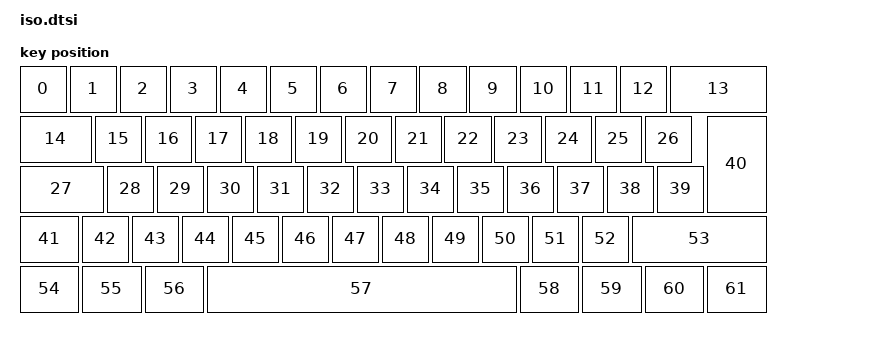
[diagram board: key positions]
#include <layouts/common/60percent/position_map.dtsi>
#include <physical_layouts.dtsi>

/ {
    layout_60_iso: layout_60_iso {
        compatible = "zmk,physical-layout";
        display-name = "60% ISO";

        keys  //                     w   h    x    y     rot    rx    ry
            = <&key_physical_attrs 100 100    0    0       0     0     0>
            , <&key_physical_attrs 100 100  100    0       0     0     0>
            , <&key_physical_attrs 100 100  200    0       0     0     0>
            , <&key_physical_attrs 100 100  300    0       0     0     0>
            , <&key_physical_attrs 100 100  400    0       0     0     0>
            , <&key_physical_attrs 100 100  500    0       0     0     0>
            , <&key_physical_attrs 100 100  600    0       0     0     0>
            , <&key_physical_attrs 100 100  700    0       0     0     0>
            , <&key_physical_attrs 100 100  800    0       0     0     0>
            , <&key_physical_attrs 100 100  900    0       0     0     0>
            , <&key_physical_attrs 100 100 1000    0       0     0     0>
            , <&key_physical_attrs 100 100 1100    0       0     0     0>
            , <&key_physical_attrs 100 100 1200    0       0     0     0>
            , <&key_physical_attrs 200 100 1300    0       0     0     0>
            , <&key_physical_attrs 150 100    0  100       0     0     0>
            , <&key_physical_attrs 100 100  150  100       0     0     0>
            , <&key_physical_attrs 100 100  250  100       0     0     0>
            , <&key_physical_attrs 100 100  350  100       0     0     0>
            , <&key_physical_attrs 100 100  450  100       0     0     0>
            , <&key_physical_attrs 100 100  550  100       0     0     0>
            , <&key_physical_attrs 100 100  650  100       0     0     0>
            , <&key_physical_attrs 100 100  750  100       0     0     0>
            , <&key_physical_attrs 100 100  850  100       0     0     0>
            , <&key_physical_attrs 100 100  950  100       0     0     0>
            , <&key_physical_attrs 100 100 1050  100       0     0     0>
            , <&key_physical_attrs 100 100 1150  100       0     0     0>
            , <&key_physical_attrs 100 100 1250  100       0     0     0>
            , <&key_physical_attrs 175 100    0  200       0     0     0>
            , <&key_physical_attrs 100 100  175  200       0     0     0>
            , <&key_physical_attrs 100 100  275  200       0     0     0>
            , <&key_physical_attrs 100 100  375  200       0     0     0>
            , <&key_physical_attrs 100 100  475  200       0     0     0>
            , <&key_physical_attrs 100 100  575  200       0     0     0>
            , <&key_physical_attrs 100 100  675  200       0     0     0>
            , <&key_physical_attrs 100 100  775  200       0     0     0>
            , <&key_physical_attrs 100 100  875  200       0     0     0>
            , <&key_physical_attrs 100 100  975  200       0     0     0>
            , <&key_physical_attrs 100 100 1075  200       0     0     0>
            , <&key_physical_attrs 100 100 1175  200       0     0     0>
            , <&key_physical_attrs 100 100 1275  200       0     0     0>
            , <&key_physical_attrs 125 200 1375  100       0     0     0>
            , <&key_physical_attrs 125 100    0  300       0     0     0>
            , <&key_physical_attrs 100 100  125  300       0     0     0>
            , <&key_physical_attrs 100 100  225  300       0     0     0>
            , <&key_physical_attrs 100 100  325  300       0     0     0>
            , <&key_physical_attrs 100 100  425  300       0     0     0>
            , <&key_physical_attrs 100 100  525  300       0     0     0>
            , <&key_physical_attrs 100 100  625  300       0     0     0>
            , <&key_physical_attrs 100 100  725  300       0     0     0>
            , <&key_physical_attrs 100 100  825  300       0     0     0>
            , <&key_physical_attrs 100 100  925  300       0     0     0>
            , <&key_physical_attrs 100 100 1025  300       0     0     0>
            , <&key_physical_attrs 100 100 1125  300       0     0     0>
            , <&key_physical_attrs 275 100 1225  300       0     0     0>
            , <&key_physical_attrs 125 100    0  400       0     0     0>
            , <&key_physical_attrs 125 100  125  400       0     0     0>
            , <&key_physical_attrs 125 100  250  400       0     0     0>
            , <&key_physical_attrs 625 100  375  400       0     0     0>
            , <&key_physical_attrs 125 100 1000  400       0     0     0>
            , <&key_physical_attrs 125 100 1125  400       0     0     0>
            , <&key_physical_attrs 125 100 1250  400       0     0     0>
            , <&key_physical_attrs 125 100 1375  400       0     0     0>
            ;
    };
};

&layouts_common_60_percent_position_map {
    layout_60_iso {
        physical-layout = <&layout_60_iso>;
        positions
            = < 0  1  2  3  4  5  6  7  8  9 10 11 12 13 62>
            , <14 15 16 17 18 19 20 21 22 23 24 25 26 63>
            , <27 28 29 30 31 32 33 34 35 36 37 38 40>
            , <41 42 43 44 45 46 47 48 49 50 51 52 53 64 65>
            , <54 55 56 57 58 59 61 60 39>
            ;
    };
};
